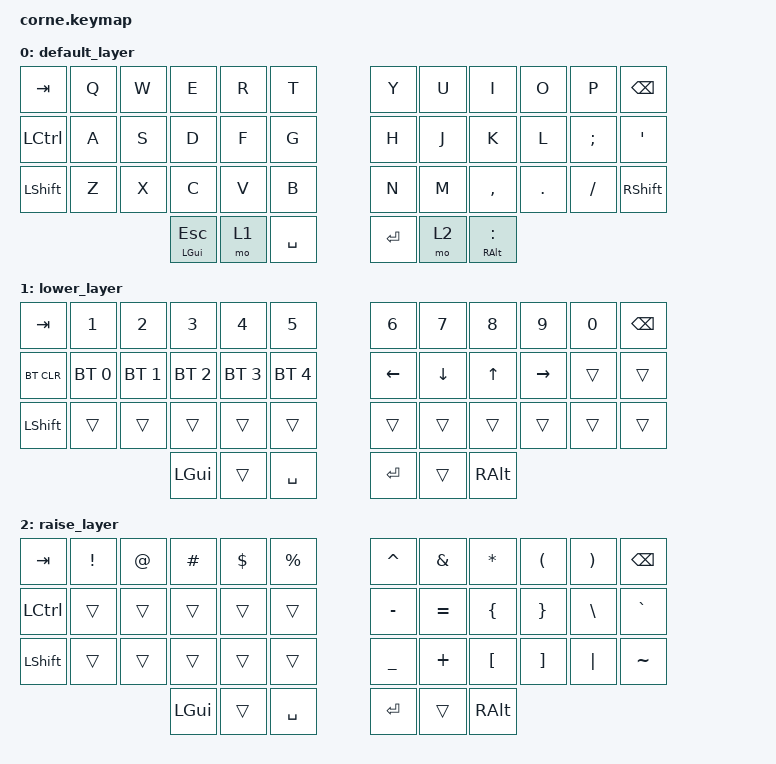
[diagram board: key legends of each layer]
/*
 * Copyright (c) 2020 The ZMK Contributors
 * SPDX-License-Identifier: MIT
 */

#include <behaviors.dtsi>
#include <dt-bindings/zmk/keys.h>
#include <dt-bindings/zmk/bt.h>

/ {
    chosen {
        zmk,physical-layout = &foostan_corne_6col_layout;
        // zmk,physical-layout = &foostan_corne_5col_layout;
    };
};

/ {
    keymap {
        compatible = "zmk,keymap";

        default_layer {
            bindings = <
                &kp TAB   &kp Q &kp W &kp E &kp R &kp T   &kp Y &kp U  &kp I     &kp O   &kp P    &kp BSPC
                &kp LCTRL &kp A &kp S &kp D &kp F &kp G   &kp H &kp J  &kp K     &kp L   &kp SEMI &kp SQT
                &kp LSHFT &kp Z &kp X &kp C &kp V &kp B   &kp N &kp M  &kp COMMA &kp DOT &kp FSLH &kp RSHFT
                              &mt LGUI ESC &mo 1 &kp SPACE   &kp RET &mo 2 &mt RALT COLON
            >;
        };
        lower_layer {
            bindings = <
                &kp TAB    &kp N1       &kp N2       &kp N3       &kp N4       &kp N5         &kp N6   &kp N7   &kp N8 &kp N9    &kp N0 &kp BSPC
                &bt BT_CLR &bt BT_SEL 0 &bt BT_SEL 1 &bt BT_SEL 2 &bt BT_SEL 3 &bt BT_SEL 4   &kp LEFT &kp DOWN &kp UP &kp RIGHT &trans &trans
                &kp LSHFT  &trans       &trans       &trans       &trans       &trans         &trans   &trans   &trans &trans    &trans &trans
                                                &kp LGUI     &trans       &kp SPACE      &kp RET  &trans   &kp RALT
            >;
        };

        raise_layer {
            bindings = <
                &kp  TAB  &kp EXCL &kp AT &kp HASH &kp DLLR &kp PRCNT   &kp CARET &kp AMPS  &kp ASTRK &kp LPAR &kp RPAR &kp BSPC
                &kp LCTRL &trans   &trans &trans   &trans   &trans      &kp MINUS &kp EQUAL &kp LBRC  &kp RBRC &kp BSLH &kp GRAVE
                &kp LSHFT &trans   &trans &trans   &trans   &trans      &kp UNDER &kp PLUS  &kp LBKT  &kp RBKT &kp PIPE &kp TILDE
                                         &kp LGUI &trans   &kp SPACE   &kp RET   &trans    &kp RALT
            >;
        };
    };
};
